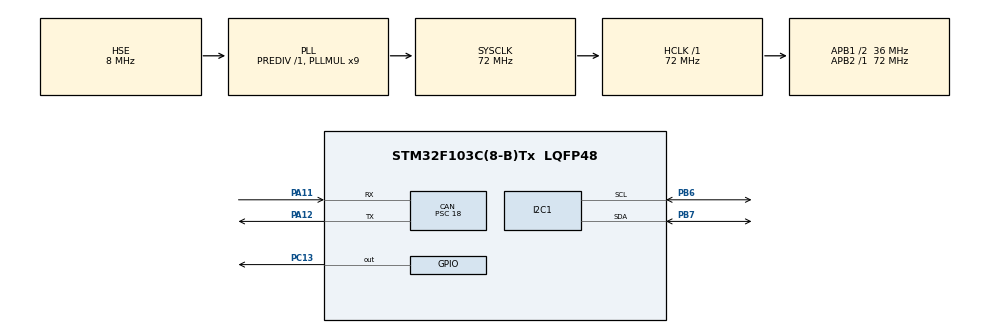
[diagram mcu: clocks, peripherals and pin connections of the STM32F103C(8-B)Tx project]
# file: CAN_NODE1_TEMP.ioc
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CAN.BS1=CAN_BS1_2TQ
CAN.CalculateBaudRate=500000
CAN.CalculateTimeBit=2000
CAN.CalculateTimeQuantum=500.0
CAN.Prescaler=18
Mcu.Family=STM32F1
Mcu.Name=STM32F103C(8-B)Tx
Mcu.Package=LQFP48
NVIC.CAN1_RX1_IRQn=true\:0\:0\:false\:false\:true\:true\:true\:true
NVIC.PriorityGroup=NVIC_PRIORITYGROUP_4
PA11.GPIO_Mode=GPIO_MODE_INPUT
PA11.GPIO_PuPd=GPIO_PULLUP
PA11.Mode=CAN_Activate
PA11.Signal=CAN_RX
PA12.Mode=CAN_Activate
PA12.Signal=CAN_TX
PA13.Mode=Serial_Wire
PA13.Signal=SYS_JTMS-SWDIO
PA14.Mode=Serial_Wire
PA14.Signal=SYS_JTCK-SWCLK
PB6.Mode=I2C
PB6.Signal=I2C1_SCL
PB7.Mode=I2C
PB7.Signal=I2C1_SDA
PC13-TAMPER-RTC.Signal=GPIO_Output
PD0-OSC_IN.Mode=HSE-External-Oscillator
PD0-OSC_IN.Signal=RCC_OSC_IN
PD1-OSC_OUT.Mode=HSE-External-Oscillator
PD1-OSC_OUT.Signal=RCC_OSC_OUT
ProjectManager.HeapSize=0x200
ProjectManager.StackSize=0x400
ProjectManager.TargetToolchain=STM32CubeIDE
RCC.AHBFreq_Value=72000000
RCC.APB1CLKDivider=RCC_HCLK_DIV2
RCC.APB1Freq_Value=36000000
RCC.APB1TimFreq_Value=72000000
RCC.APB2Freq_Value=72000000
RCC.APB2TimFreq_Value=72000000
RCC.HCLKFreq_Value=72000000
RCC.PLLMUL=RCC_PLL_MUL9
RCC.PLLSourceVirtual=RCC_PLLSOURCE_HSE
RCC.SYSCLKFreq_VALUE=72000000
RCC.SYSCLKSource=RCC_SYSCLKSOURCE_PLLCLK
RCC.USBFreq_Value=72000000
board=custom

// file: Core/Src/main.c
/* USER CODE BEGIN Header */
/**
  ******************************************************************************
  * @file           : main.c
  * @brief          : Main program body
  ******************************************************************************
  * @attention
  *
  * Copyright (c) 2025 STMicroelectronics.
  * All rights reserved.
  *
  * This software is licensed under terms that can be found in the LICENSE file
  * in the root directory of this software component.
  * If no LICENSE file comes with this software, it is provided AS-IS.
  *
  ******************************************************************************
  */
/* USER CODE END Header */
#include "main.h"

/* USER CODE BEGIN Includes */
#include <string.h>
#include <math.h>
/* USER CODE END Includes */

/* USER CODE BEGIN PD */
#define SHT3X_I2C_ADDR_44 (0x44u << 1) /* ADDR pin = GND */
#define SHT3X_I2C_ADDR_45 (0x45u << 1) /* ADDR pin = VDD */
#ifndef SHT3X_I2C_ADDR
#define SHT3X_I2C_ADDR SHT3X_I2C_ADDR_44
#endif
/* USER CODE END PD */

CAN_HandleTypeDef hcan;

I2C_HandleTypeDef hi2c1;

/* USER CODE BEGIN PV */
CAN_TxHeaderTypeDef CAN_pHeader;
CAN_RxHeaderTypeDef CAN_pHeaderRx;
CAN_FilterTypeDef CAN_sFilterConfig;
uint32_t CAN_pTxMailbox;
uint8_t CAN_DATA_TX[8] = {0};
uint8_t CAN_DATA_RX[8] = {0x00,0x00,0x00,0x00,0x00,0x00,0x00,0x00};
/* USER CODE END PV */

void SystemClock_Config(void);
static void MX_GPIO_Init(void);
static void MX_CAN_Init(void);
static void MX_I2C1_Init(void);
/* USER CODE BEGIN PFP */
void HAL_CAN_RxFifo1MsgPendingCallback(CAN_HandleTypeDef *hcan){

		HAL_CAN_GetRxMessage(hcan, CAN_RX_FIFO1, &CAN_pHeaderRx, CAN_DATA_RX);
			HAL_GPIO_WritePin(GPIOC,GPIO_PIN_13,GPIO_PIN_RESET);

}
/* USER CODE END PFP */

/* USER CODE BEGIN 0 */
/* Single-shot measurement, no clock stretching, high repeatability: 0x2400 */
static const uint8_t SHT3X_CMD_MEAS_HIGH[2] = { 0x24, 0x00 };
/* Optional: read status register 0xF32D */
static const uint8_t SHT3X_CMD_READ_STATUS[2] = { 0xF3, 0x2D };
/* CRC-8 properties: poly 0x31, init 0xFF */
static uint8_t sht3x_crc8(const uint8_t *data, uint8_t len)
{
uint8_t crc = 0xFF;
for (uint8_t i = 0; i < len; ++i) {
crc ^= data[i];
for (uint8_t b = 0; b < 8; ++b) {
if (crc & 0x80) crc = (crc << 1) ^ 0x31; else crc <<= 1;
}
}
return crc;
}

/* Read one high-repeatability measurement; returns HAL status. */
static HAL_StatusTypeDef SHT3X_Read(float *t_c, float *rh, uint8_t *crc_ok_flags)
{
uint8_t rx[6];
HAL_StatusTypeDef st;

/* Trigger single measurement */
st = HAL_I2C_Master_Transmit(&hi2c1, SHT3X_I2C_ADDR, (uint8_t*)SHT3X_CMD_MEAS_HIGH, 2, HAL_MAX_DELAY);
if (st != HAL_OK) return st;

/* Wait for conversion: high repeatability typ 12.5ms, max 15ms */
HAL_Delay(15);

/* Read 6 bytes: T_MSB, T_LSB, T_CRC, RH_MSB, RH_LSB, RH_CRC */
st = HAL_I2C_Master_Receive(&hi2c1, SHT3X_I2C_ADDR, rx, sizeof(rx), HAL_MAX_DELAY);
if (st != HAL_OK) return st;

uint8_t crc_t_ok = (sht3x_crc8(rx, 2) == rx[2]);
uint8_t crc_rh_ok = (sht3x_crc8(&rx[3], 2) == rx[5]);
if (crc_ok_flags) *crc_ok_flags = (crc_t_ok ? 0x01 : 0) | (crc_rh_ok ? 0x02 : 0);

uint16_t raw_t = ((uint16_t)rx[0] << 8) | rx[1];
uint16_t raw_rh = ((uint16_t)rx[3] << 8) | rx[4];

/* Convert to physical values */
if (t_c) *t_c = -45.0f + (175.0f * (float)raw_t / 65535.0f);
if (rh) *rh = 100.0f * (float)raw_rh / 65535.0f;

return HAL_OK;
}

static HAL_StatusTypeDef SHT3X_ReadStatus(uint16_t *status)
{
HAL_StatusTypeDef st;
uint8_t rx[3];
st = HAL_I2C_Master_Transmit(&hi2c1, SHT3X_I2C_ADDR, (uint8_t*)SHT3X_CMD_READ_STATUS, 2, HAL_MAX_DELAY);
if (st != HAL_OK) return st;
st = HAL_I2C_Master_Receive(&hi2c1, SHT3X_I2C_ADDR, rx, sizeof(rx), HAL_MAX_DELAY);
if (st != HAL_OK) return st;
if (sht3x_crc8(rx, 2) != rx[2]) return HAL_ERROR;
if (status) *status = ((uint16_t)rx[0] << 8) | rx[1];
return HAL_OK;
}
/* USER CODE END 0 */

int main(void)
{

  /* MCU Configuration--------------------------------------------------------*/

  /* Reset of all peripherals, Initializes the Flash interface and the Systick. */
  HAL_Init();

  /* Configure the system clock */
  SystemClock_Config();

  /* Initialize all configured peripherals */
  MX_GPIO_Init();
  MX_CAN_Init();
  MX_I2C1_Init();
  /* USER CODE BEGIN 2 */
  HAL_CAN_ConfigFilter(&hcan,&CAN_sFilterConfig);
  HAL_CAN_Start(&hcan);
  HAL_CAN_ActivateNotification(&hcan, CAN_IT_RX_FIFO1_MSG_PENDING);
  /* USER CODE END 2 */

  /* Infinite loop */
  /* USER CODE BEGIN WHILE */
  float t, h;
  uint8_t crc_flags;
  uint16_t status = 0;
  while (1)
  {
    /* USER CODE END WHILE */

    /* USER CODE BEGIN 3 */
	  if (SHT3X_Read(&t, &h, &crc_flags) == HAL_OK) {
		  if (SHT3X_ReadStatus(&status) != HAL_OK) status = 0;
		  int temp_i = (int)lroundf(t);
		  int hum_i = (int)lroundf(h);

//		  if (hum_i < 0) hum_i = 0; if (hum_i > 100) hum_i = 100;
//		  if (temp_i < -128) temp_i = -128; if (temp_i > 127) temp_i = 127;

		  CAN_DATA_TX[0] = (uint8_t)((int8_t)temp_i);
		  CAN_DATA_TX[1] = (uint8_t)hum_i;
		  CAN_DATA_TX[2] = crc_flags;

		  HAL_CAN_AddTxMessage(&hcan, &CAN_pHeader, CAN_DATA_TX, &CAN_pTxMailbox);

	  }

	  	  	  HAL_Delay(2000);
  }
  /* USER CODE END 3 */
}

void SystemClock_Config(void)
{
  RCC_OscInitTypeDef RCC_OscInitStruct = {0};
  RCC_ClkInitTypeDef RCC_ClkInitStruct = {0};

  /** Initializes the RCC Oscillators according to the specified parameters
  * in the RCC_OscInitTypeDef structure.
  */
  RCC_OscInitStruct.OscillatorType = RCC_OSCILLATORTYPE_HSE;
  RCC_OscInitStruct.HSEState = RCC_HSE_ON;
  RCC_OscInitStruct.HSEPredivValue = RCC_HSE_PREDIV_DIV1;
  RCC_OscInitStruct.HSIState = RCC_HSI_ON;
  RCC_OscInitStruct.PLL.PLLState = RCC_PLL_ON;
  RCC_OscInitStruct.PLL.PLLSource = RCC_PLLSOURCE_HSE;
  RCC_OscInitStruct.PLL.PLLMUL = RCC_PLL_MUL9;
  if (HAL_RCC_OscConfig(&RCC_OscInitStruct) != HAL_OK)
  {
    Error_Handler();
  }

  /** Initializes the CPU, AHB and APB buses clocks
  */
  RCC_ClkInitStruct.ClockType = RCC_CLOCKTYPE_HCLK|RCC_CLOCKTYPE_SYSCLK
                              |RCC_CLOCKTYPE_PCLK1|RCC_CLOCKTYPE_PCLK2;
  RCC_ClkInitStruct.SYSCLKSource = RCC_SYSCLKSOURCE_PLLCLK;
  RCC_ClkInitStruct.AHBCLKDivider = RCC_SYSCLK_DIV1;
  RCC_ClkInitStruct.APB1CLKDivider = RCC_HCLK_DIV2;
  RCC_ClkInitStruct.APB2CLKDivider = RCC_HCLK_DIV1;

  if (HAL_RCC_ClockConfig(&RCC_ClkInitStruct, FLASH_LATENCY_2) != HAL_OK)
  {
    Error_Handler();
  }
}

static void MX_CAN_Init(void)
{

  /* USER CODE BEGIN CAN_Init 0 */
	CAN_pHeader.StdId = 0x01;
		CAN_pHeader.DLC = 8;
		CAN_pHeader.IDE = CAN_ID_STD;
		CAN_pHeader.RTR = CAN_RTR_DATA;
  /* USER CODE END CAN_Init 0 */

  hcan.Instance = CAN1;
  hcan.Init.Prescaler = 18;
  hcan.Init.Mode = CAN_MODE_NORMAL;
  hcan.Init.SyncJumpWidth = CAN_SJW_1TQ;
  hcan.Init.TimeSeg1 = CAN_BS1_2TQ;
  hcan.Init.TimeSeg2 = CAN_BS2_1TQ;
  hcan.Init.TimeTriggeredMode = DISABLE;
  hcan.Init.AutoBusOff = DISABLE;
  hcan.Init.AutoWakeUp = DISABLE;
  hcan.Init.AutoRetransmission = DISABLE;
  hcan.Init.ReceiveFifoLocked = DISABLE;
  hcan.Init.TransmitFifoPriority = DISABLE;
  if (HAL_CAN_Init(&hcan) != HAL_OK)
  {
    Error_Handler();
  }
  /* USER CODE BEGIN CAN_Init 2 */
  CAN_sFilterConfig.FilterActivation = CAN_FILTER_ENABLE;
    CAN_sFilterConfig.FilterFIFOAssignment = CAN_FILTER_FIFO1;
    CAN_sFilterConfig.SlaveStartFilterBank = 0;
    CAN_sFilterConfig.FilterBank = 8;
    CAN_sFilterConfig.FilterMode = CAN_FILTERMODE_IDMASK;
    CAN_sFilterConfig.FilterScale = CAN_FILTERSCALE_32BIT;
    CAN_sFilterConfig.FilterIdHigh = 0x002 << 5;
    CAN_sFilterConfig.FilterIdLow = 0;
    CAN_sFilterConfig.FilterMaskIdHigh = 0;
    CAN_sFilterConfig.FilterMaskIdLow = 0;
  /* USER CODE END CAN_Init 2 */

}

static void MX_I2C1_Init(void)
{

  hi2c1.Instance = I2C1;
  hi2c1.Init.ClockSpeed = 100000;
  hi2c1.Init.DutyCycle = I2C_DUTYCYCLE_2;
  hi2c1.Init.OwnAddress1 = 0;
  hi2c1.Init.AddressingMode = I2C_ADDRESSINGMODE_7BIT;
  hi2c1.Init.DualAddressMode = I2C_DUALADDRESS_DISABLE;
  hi2c1.Init.OwnAddress2 = 0;
  hi2c1.Init.GeneralCallMode = I2C_GENERALCALL_DISABLE;
  hi2c1.Init.NoStretchMode = I2C_NOSTRETCH_DISABLE;
  if (HAL_I2C_Init(&hi2c1) != HAL_OK)
  {
    Error_Handler();
  }

}

static void MX_GPIO_Init(void)
{
  GPIO_InitTypeDef GPIO_InitStruct = {0};

  /* GPIO Ports Clock Enable */
  __HAL_RCC_GPIOC_CLK_ENABLE();
  __HAL_RCC_GPIOD_CLK_ENABLE();
  __HAL_RCC_GPIOA_CLK_ENABLE();
  __HAL_RCC_GPIOB_CLK_ENABLE();

  /*Configure GPIO pin Output Level */
  HAL_GPIO_WritePin(GPIOC, GPIO_PIN_13, GPIO_PIN_RESET);

  /*Configure GPIO pin : PC13 */
  GPIO_InitStruct.Pin = GPIO_PIN_13;
  GPIO_InitStruct.Mode = GPIO_MODE_OUTPUT_PP;
  GPIO_InitStruct.Pull = GPIO_NOPULL;
  GPIO_InitStruct.Speed = GPIO_SPEED_FREQ_LOW;
  HAL_GPIO_Init(GPIOC, &GPIO_InitStruct);

}

void Error_Handler(void)
{
  __disable_irq();
  while (1)
  {
  }
}
